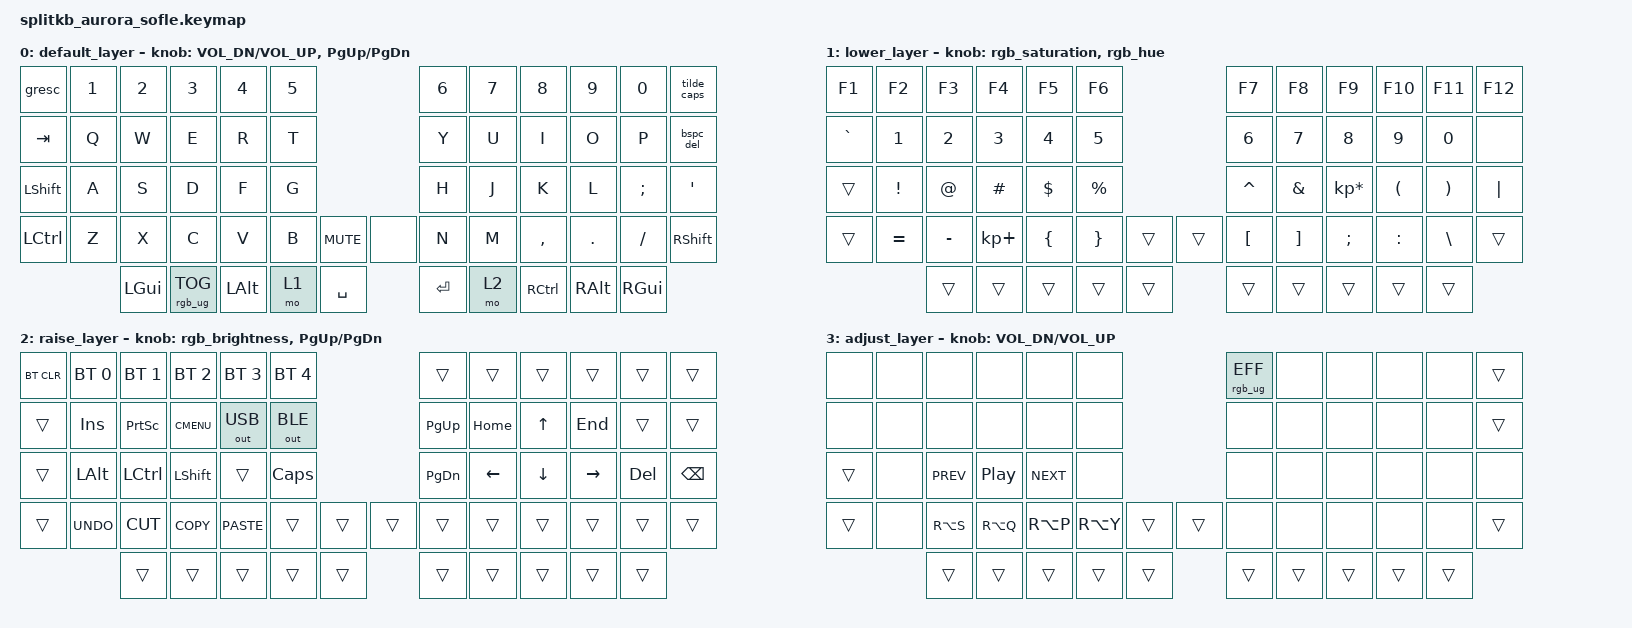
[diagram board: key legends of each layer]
/*
 * Copyright (c) 2020 The ZMK Contributors
 *
 * SPDX-License-Identifier: MIT
 */

#include <behaviors.dtsi>
#include <dt-bindings/zmk/keys.h>
#include <dt-bindings/zmk/bt.h>
#include <dt-bindings/zmk/outputs.h>
#include <dt-bindings/zmk/rgb.h>

&led_strip { chain-length = <35>; };

/ {
    conditional_layers {
      compatible = "zmk,conditional-layers";
      tri_layer {
          if-layers = <1 2>;
          then-layer = <3>;
      };
    };

    behaviors {
      bspc_del: backspace_delete {
        compatible = "zmk,behavior-mod-morph";
        label = "BACKSPACE_DELETE";
        #binding-cells = <0>;
        bindings = <&kp BACKSPACE>, <&kp DELETE>;
        mods = <(MOD_LSFT|MOD_RSFT)>;
        keep-mods = <(MOD_RSFT)>;
      };

      tilde_caps: tilde_caps {
            compatible = "zmk,behavior-mod-morph";
            label = "TILDE_CAPS";
            #binding-cells = <0>;
            bindings = <&kp TILDE>, <&caps_word>;
            mods = <(MOD_LSFT|MOD_RSFT)>;
        };

      rgb_brightness: rgb_brightness {
            compatible = "zmk,behavior-sensor-rotate";
            label = "RGB_BRIGHTNESS";
            #sensor-binding-cells = <0>;
            bindings = <&rgb_ug RGB_BRD>, <&rgb_ug RGB_BRI>;
        };

      rgb_hue: rgb_hue {
            compatible = "zmk,behavior-sensor-rotate";
            label = "RGB_HUE";
            #sensor-binding-cells = <0>;
            bindings = <&rgb_ug RGB_HUI>, <&rgb_ug RGB_HUD>;
        };

      rgb_saturation: rgb_saturation {
            compatible = "zmk,behavior-sensor-rotate";
            label = "RGB_SATURATION";
            #sensor-binding-cells = <0>;
            bindings = <&rgb_ug RGB_SAD>, <&rgb_ug RGB_SAI>;
        };
    };

    keymap {
        compatible = "zmk,keymap";

        default_layer {
// ------------------------------------------------------------------------------------------------------------
// |  `    |  1  |  2  |  3   |  4   |  5   |                   |  6   |  7    |  8    |  9   |   0   |  DEL  |
// |  ESC  |  Q  |  W  |  E   |  R   |  T   |                   |  Y   |  U    |  I    |  O   |   P   | BKSPC |
// |  TAB  |  A  |  S  |  D   |  F   |  G   |                   |  H   |  J    |  K    |  L   |   ;   |   '   |
// | SHIFT |  Z  |  X  |  C   |  V   |  B   |  MUTE  |  |       |  N   |  M    |  ,    |  .   |   /   | SHIFT |
//               | GUI | ALT  | CTRL | LOWER|  SPACE |  | ENTER | RAISE| CTRL  | ALT   | GUI  |
            bindings = <
&gresc    &kp N1 &kp N2   &kp N3   &kp N4    &kp N5                      &kp N6 &kp N7    &kp N8    &kp N9   &kp N0   &tilde_caps
&kp TAB   &kp Q  &kp W    &kp E    &kp R     &kp T                       &kp Y  &kp U     &kp I     &kp O    &kp P    &bspc_del
&kp LSHFT &kp A  &kp S    &kp D    &kp F     &kp G                       &kp H  &kp J     &kp K     &kp L    &kp SEMI &kp SQT
&kp LCTRL &kp Z  &kp X    &kp C    &kp V     &kp B  &kp C_MUTE &none     &kp N  &kp M     &kp COMMA &kp DOT  &kp FSLH &kp RSHFT
                 &kp LGUI &rgb_ug RGB_TOG &kp LALT  &mo 1  &kp SPACE    &kp RET &mo 2  &kp RCTRL &kp RALT  &kp RGUI
            >;

            sensor-bindings = <&inc_dec_kp C_VOL_DN C_VOL_UP &inc_dec_kp PG_UP PG_DN>;
        };

        lower_layer {
// TODO: Some binds are waiting for shifted keycode support.
// ------------------------------------------------------------------------------------------------------------
// |   F1  |  F2 |  F3 |  F4  |  F5  |  F6  |                   |  F7  |  F8   |  F9   |  F10 |  F11  |  F12  |
// | `     |   1 |   2 |   3  |   4  |   5  |                   |   6  |   7   |   8   |   9  |    0  |       |
// |       |  !  |  @  |  #   |  $   |  %   |                   |  ^   |  &    |  *    |  (   |   )   |   |   |
// |       |  =  |  -  |  +   |  {   |  }   |        |  |       |  [   |  ]    |  ;    |  :   |   \   |       |
//               |     |      |      |      |        |  |       |      |       |       |      |
            bindings = <
&kp F1    &kp F2    &kp F3    &kp F4      &kp F5    &kp F6                    &kp F7    &kp F8   &kp F9          &kp F10   &kp F11   &kp F12
&kp GRAVE &kp N1    &kp N2    &kp N3      &kp N4    &kp N5                    &kp N6    &kp N7   &kp N8          &kp N9    &kp N0    &none
&trans    &kp EXCL  &kp AT    &kp HASH    &kp DLLR  &kp PRCNT                 &kp CARET &kp AMPS &kp KP_MULTIPLY &kp LPAR  &kp RPAR  &kp PIPE
&trans    &kp EQUAL &kp MINUS &kp KP_PLUS &kp LBRC  &kp RBRC  &trans   &trans &kp LBKT  &kp RBKT &kp SEMI        &kp COLON &kp BSLH  &trans
                    &trans    &trans      &trans    &trans    &trans   &trans &trans    &trans   &trans          &trans
            >;

            sensor-bindings = <&rgb_saturation &rgb_hue>;
        };

        raise_layer {
// ------------------------------------------------------------------------------------------------------------
// |BTCLR| BT1  | BT2  |  BT3  |  BT4  |  BT5  |                |      |      |       |      |       |       |
// |     | INS  | PSCR | GUI   | USB O | BLE O |                | PGUP | HOME |   ^   | END  |       |       |
// |     | ALT  | CTRL | SHIFT |       | CAPS  |                | PGDN |   <- |   v   |  ->  |  DEL  | BKSPC |
// |     | UNDO | CUT  | COPY  | PASTE |       |      |  |      |      |      |       |      |       |       |
//              |      |       |       |       |      |  |      |      |      |       |      |
            bindings = <
&bt BT_CLR  &bt BT_SEL 0 &bt BT_SEL 1 &bt BT_SEL 2 &bt BT_SEL 3  &bt BT_SEL 4             &trans    &trans    &trans   &trans    &trans  &trans
&trans      &kp INS      &kp PSCRN    &kp K_CMENU  &out OUT_USB  &out OUT_BLE             &kp PG_UP &kp HOME  &kp UP   &kp END   &trans  &trans
&trans      &kp LALT     &kp LCTRL    &kp LSHFT    &trans        &kp CLCK                 &kp PG_DN &kp LEFT  &kp DOWN &kp RIGHT &kp DEL &kp BSPC
&trans      &kp K_UNDO   &kp K_CUT    &kp K_COPY   &kp K_PASTE   &trans  &trans   &trans  &trans    &trans    &trans   &trans    &trans  &trans
                         &trans       &trans       &trans        &trans  &trans   &trans  &trans    &trans    &trans   &trans
            >;

            sensor-bindings = <&rgb_brightness &inc_dec_kp PG_UP PG_DN>;
        };

        adjust_layer {
// ---------------------------------------------------------------------------------------------------------
// |       |     |     |             |      |      |                   |     |     |     |     |     |     |
// |       |     |     |             |      |      |                   |     |     |     |     |     |     |
// |       |     | Prev | Play/Pause | Next |      |                   |     |     |     |     |     |     |
// |       |     |   ß |      ä      |  ö   |  ü   |        |  |       |     |     |     |     |     |     |
//               |     |             |      |      |        |  |       |     |     |     |     |
            bindings =  <
&none      &none        &none        &none        &none        &none                       &rgb_ug RGB_EFF     &none     &none     &none     &none     &trans
&none      &none        &none        &none        &none        &none                       &none     &none     &none     &none     &none     &trans
&trans     &none        &kp C_PREV   &kp C_PP     &kp C_NEXT   &none                       &none     &none     &none     &none     &none     &none
&trans     &none        &kp RA(S)    &kp RA(Q)    &kp RA(P)    &kp RA(Y)  &trans   &trans  &none     &none     &none     &none     &none     &trans
                        &trans       &trans       &trans       &trans     &trans   &trans  &trans    &trans    &trans   &trans
            >;

            sensor-bindings = <&inc_dec_kp C_VOL_DN C_VOL_UP>;
        };
    };
};
